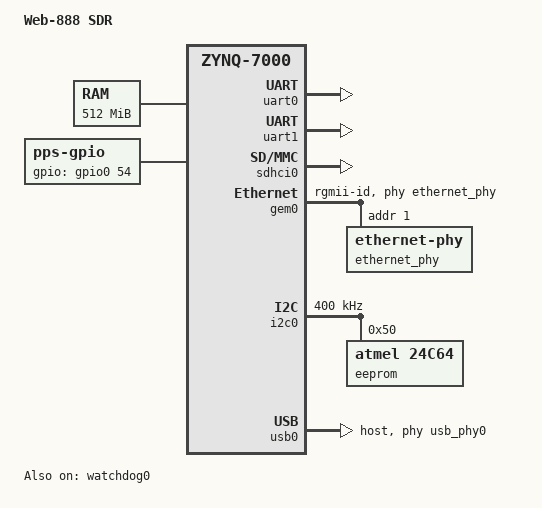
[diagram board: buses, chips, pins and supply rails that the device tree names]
// SPDX-License-Identifier: GPL-3.0-or-later
/*
 * Web-888 SDR (Zynq-7010 xc7z010clg400-1, 512 MB DDR3), for both U-Boot
 * and Linux (their zynq-7000.dtsi share the labels). Board facts from
 * web888-ng-hw docs/stock-unit-facts.md (the live device tree and the
 * EEPROM) and docs/server-fpga-interface.md.
 *
 * Not described: the Si5351 at I2C 0x60. web888d programs it through
 * /dev/i2c-0 (a kernel clock driver would claim the address).
 */
/dts-v1/;
#include "zynq-7000.dtsi"

/ {
	model = "Web-888 SDR";
	compatible = "web888-ng,web888", "xlnx,zynq-7000";

	aliases {
		ethernet0 = &gem0;
		i2c0 = &i2c0;
		mmc0 = &sdhci0;
		serial0 = &uart0;
		serial1 = &uart1;
	};

	chosen {
		stdout-path = "serial0:115200n8";
	};

	memory@0 {
		device_type = "memory";
		reg = <0x0 0x20000000>;
	};

	/* GPS PPS on EMIO GPIO 54 (the FPGA routes it to GPIO_I[0]) */
	pps {
		compatible = "pps-gpio";
		gpios = <&gpio0 54 0>;
		capture-clear;
	};

	/*
	 * The SDR logic in the PL (the open web888-sdr driver): CFG, STS,
	 * PPS FIFO and EV windows; IRQ_F2P[3:0]; the front end on MIO GPIOs
	 * (HF/VHF switch, AD8370 clock, latch, data; reference select), all
	 * active-low.
	 */
	sdr@40000000 {
		compatible = "web888-ng,sdr";
		reg = <0x40000000 0xa0>, <0x41000000 0x40>, <0x42000000 0x1000>,
		      <0x43000000 0x200>;
		interrupt-parent = <&intc>;
		interrupts = <0 29 1>, <0 30 1>, <0 31 1>, <0 32 1>;
		gpios = <&gpio0 10 1>, <&gpio0 13 1>, <&gpio0 12 1>,
			<&gpio0 11 1>, <&gpio0 49 1>;
	};

	usb_phy0: phy0 {
		compatible = "ulpi-phy";
		#phy-cells = <0>;
		reg = <0xe0002000 0x1000>;
		view-port = <0x0170>;
		drv-vbus;
	};
};

&clkc {
	ps-clk-frequency = <33333333>;
	/* FCLK0 for the PL: keep it running */
	fclk-enable = <0x1>;
};

&uart0 {
	status = "okay";
};

/* the GPS receiver (gpsd) */
&uart1 {
	status = "okay";
};

&sdhci0 {
	status = "okay";
	/* no card-detect or write-protect wiring that can be trusted */
	broken-cd;
	disable-wp;
};

&gem0 {
	status = "okay";
	phy-mode = "rgmii-id";
	phy-handle = <&ethernet_phy>;
	/* as the stock firmware: the MAC from the EEPROM (0x10); without a
	 * valid one the kernel takes a random one, and web888-setup a stable
	 * one */
	nvmem-cells = <&eeprom_mac>;
	nvmem-cell-names = "mac-address";

	ethernet_phy: ethernet-phy@1 {
		reg = <1>;
	};
};

&i2c0 {
	status = "okay";
	clock-frequency = <400000>;

	eeprom@50 {
		compatible = "atmel,24c64";
		reg = <0x50>;
		pagesize = <32>;

		nvmem-layout {
			compatible = "fixed-layout";
			#address-cells = <1>;
			#size-cells = <1>;

			eeprom_mac: mac-address@10 {
				reg = <0x10 0x6>;
			};

			/* the board data, a U-Boot environment (read only) */
			board_env: env@1800 {
				reg = <0x1800 0x400>;
			};
		};
	};
};

&gpio0 {
	status = "okay";
};

&usb0 {
	status = "okay";
	dr_mode = "host";
	usb-phy = <&usb_phy0>;
};

&watchdog0 {
	status = "okay";
	reset-on-timeout;
	timeout-sec = <60>;
};
